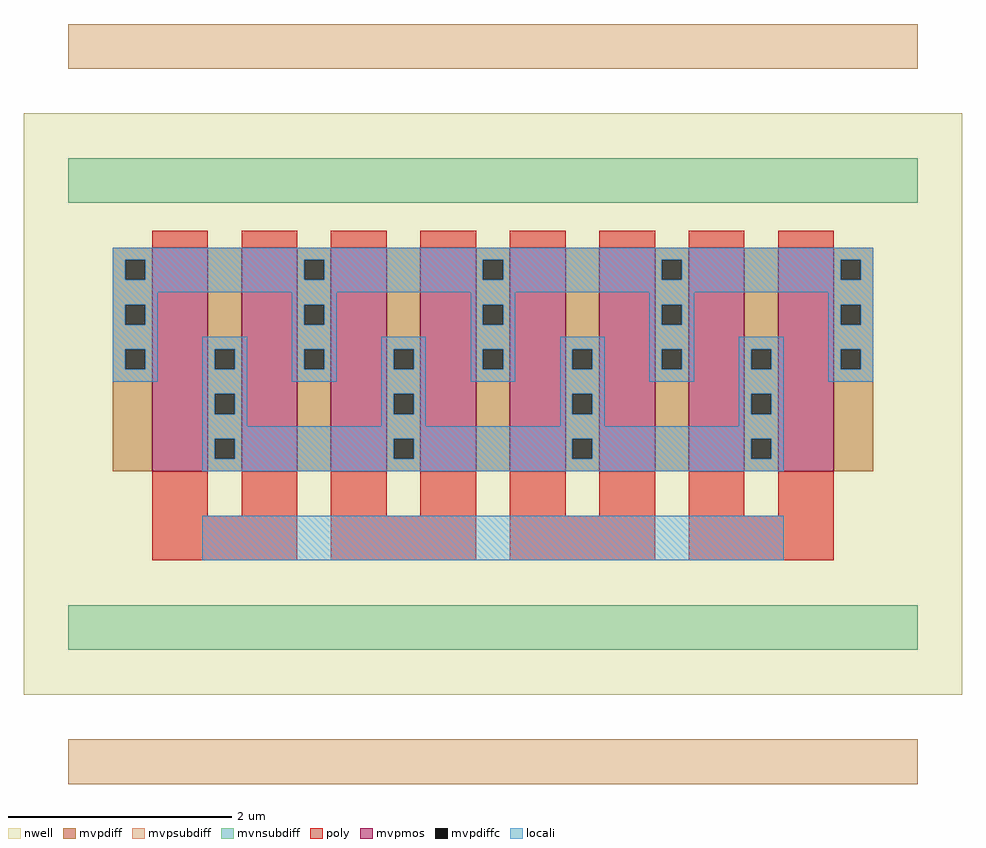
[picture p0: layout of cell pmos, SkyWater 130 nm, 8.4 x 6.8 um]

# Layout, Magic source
magic
tech sky130A
<< nwell >>
rect -120 -200 720 320
<< mvpmos >>
rect -5 0 45 200
rect 75 0 125 200
rect 155 0 205 200
rect 235 0 285 200
rect 315 0 365 200
rect 395 0 445 200
rect 475 0 525 200
rect 555 0 605 200
<< mvpdiff >>
rect -40 189 -5 200
rect -40 171 -29 189
rect -11 171 -5 189
rect -40 149 -5 171
rect -40 131 -29 149
rect -11 131 -5 149
rect -40 109 -5 131
rect -40 91 -29 109
rect -11 91 -5 109
rect -40 0 -5 91
rect 45 109 75 200
rect 45 91 51 109
rect 69 91 75 109
rect 45 69 75 91
rect 45 51 51 69
rect 69 51 75 69
rect 45 29 75 51
rect 45 11 51 29
rect 69 11 75 29
rect 45 0 75 11
rect 125 189 155 200
rect 125 171 131 189
rect 149 171 155 189
rect 125 149 155 171
rect 125 131 131 149
rect 149 131 155 149
rect 125 109 155 131
rect 125 91 131 109
rect 149 91 155 109
rect 125 0 155 91
rect 205 109 235 200
rect 205 91 211 109
rect 229 91 235 109
rect 205 69 235 91
rect 205 51 211 69
rect 229 51 235 69
rect 205 29 235 51
rect 205 11 211 29
rect 229 11 235 29
rect 205 0 235 11
rect 285 189 315 200
rect 285 171 291 189
rect 309 171 315 189
rect 285 149 315 171
rect 285 131 291 149
rect 309 131 315 149
rect 285 109 315 131
rect 285 91 291 109
rect 309 91 315 109
rect 285 0 315 91
rect 365 109 395 200
rect 365 91 371 109
rect 389 91 395 109
rect 365 69 395 91
rect 365 51 371 69
rect 389 51 395 69
rect 365 29 395 51
rect 365 11 371 29
rect 389 11 395 29
rect 365 0 395 11
rect 445 189 475 200
rect 445 171 451 189
rect 469 171 475 189
rect 445 149 475 171
rect 445 131 451 149
rect 469 131 475 149
rect 445 109 475 131
rect 445 91 451 109
rect 469 91 475 109
rect 445 0 475 91
rect 525 109 555 200
rect 525 91 531 109
rect 549 91 555 109
rect 525 69 555 91
rect 525 51 531 69
rect 549 51 555 69
rect 525 29 555 51
rect 525 11 531 29
rect 549 11 555 29
rect 525 0 555 11
rect 605 189 640 200
rect 605 171 611 189
rect 629 171 640 189
rect 605 149 640 171
rect 605 131 611 149
rect 629 131 640 149
rect 605 109 640 131
rect 605 91 611 109
rect 629 91 640 109
rect 605 0 640 91
<< mvpdiffc >>
rect -29 171 -11 189
rect -29 131 -11 149
rect -29 91 -11 109
rect 51 91 69 109
rect 51 51 69 69
rect 51 11 69 29
rect 131 171 149 189
rect 131 131 149 149
rect 131 91 149 109
rect 211 91 229 109
rect 211 51 229 69
rect 211 11 229 29
rect 291 171 309 189
rect 291 131 309 149
rect 291 91 309 109
rect 371 91 389 109
rect 371 51 389 69
rect 371 11 389 29
rect 451 171 469 189
rect 451 131 469 149
rect 451 91 469 109
rect 531 91 549 109
rect 531 51 549 69
rect 531 11 549 29
rect 611 171 629 189
rect 611 131 629 149
rect 611 91 629 109
<< mvpsubdiff >>
rect -80 360 680 400
rect -80 -280 680 -240
<< mvnsubdiff >>
rect -80 240 680 280
rect -80 -160 680 -120
<< poly >>
rect -5 200 45 215
rect 75 200 125 215
rect 155 200 205 215
rect 235 200 285 215
rect 315 200 365 215
rect 395 200 445 215
rect 475 200 525 215
rect 555 200 605 215
rect -5 -40 45 0
rect 75 -40 125 0
rect -5 -80 125 -40
rect 155 -40 205 0
rect 235 -40 285 0
rect 155 -80 285 -40
rect 315 -40 365 0
rect 395 -40 445 0
rect 315 -80 445 -40
rect 475 -40 525 0
rect 555 -40 605 0
rect 475 -80 605 -40
<< locali >>
rect -40 189 640 200
rect -40 171 -29 189
rect -11 171 131 189
rect 149 171 291 189
rect 309 171 451 189
rect 469 171 611 189
rect 629 171 640 189
rect -40 160 640 171
rect -40 149 0 160
rect -40 131 -29 149
rect -11 131 0 149
rect -40 109 0 131
rect 120 149 160 160
rect 120 131 131 149
rect 149 131 160 149
rect -40 91 -29 109
rect -11 91 0 109
rect -40 80 0 91
rect 40 109 80 120
rect 40 91 51 109
rect 69 91 80 109
rect 40 69 80 91
rect 120 109 160 131
rect 280 149 320 160
rect 280 131 291 149
rect 309 131 320 149
rect 120 91 131 109
rect 149 91 160 109
rect 120 80 160 91
rect 200 109 240 120
rect 200 91 211 109
rect 229 91 240 109
rect 40 51 51 69
rect 69 51 80 69
rect 40 40 80 51
rect 200 69 240 91
rect 280 109 320 131
rect 440 149 480 160
rect 440 131 451 149
rect 469 131 480 149
rect 280 91 291 109
rect 309 91 320 109
rect 280 80 320 91
rect 360 109 400 120
rect 360 91 371 109
rect 389 91 400 109
rect 200 51 211 69
rect 229 51 240 69
rect 200 40 240 51
rect 360 69 400 91
rect 440 109 480 131
rect 600 149 640 160
rect 600 131 611 149
rect 629 131 640 149
rect 440 91 451 109
rect 469 91 480 109
rect 440 80 480 91
rect 520 109 560 120
rect 520 91 531 109
rect 549 91 560 109
rect 360 51 371 69
rect 389 51 400 69
rect 360 40 400 51
rect 520 69 560 91
rect 600 109 640 131
rect 600 91 611 109
rect 629 91 640 109
rect 600 80 640 91
rect 520 51 531 69
rect 549 51 560 69
rect 520 40 560 51
rect 40 29 560 40
rect 40 11 51 29
rect 69 11 211 29
rect 229 11 371 29
rect 389 11 531 29
rect 549 11 560 29
rect 40 0 560 11
rect 40 -80 560 -40
<< end >>
